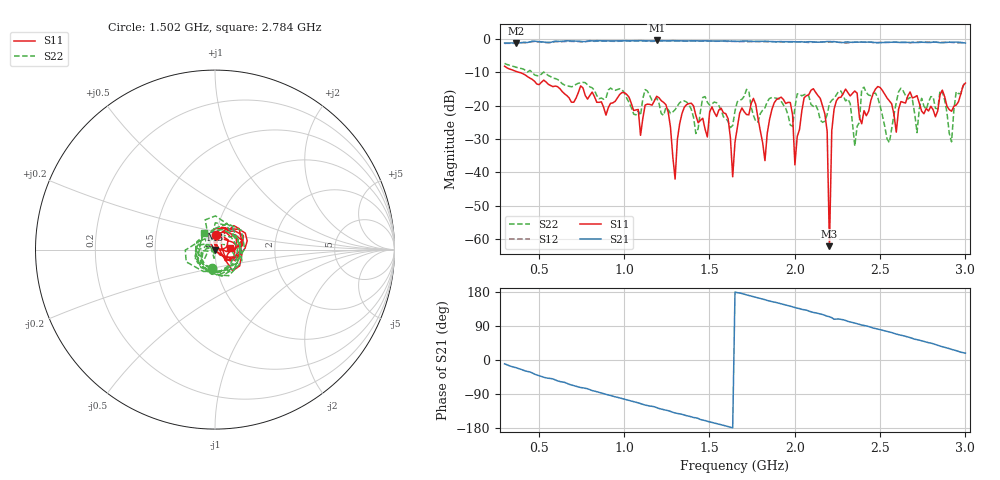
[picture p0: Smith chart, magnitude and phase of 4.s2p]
!CEYEAR,3656B,QZNG000070,1.3.8
!Calibration ON (Full Solt 2-Port(Omit Isolation))
!Measurements: S11 S21 S12 S22
!2025-12-27 10:44
# Hz  S  dB  R 50.000
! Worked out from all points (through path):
!   201 points, 300 MHz to 3 GHz, reference 50 ohm
!   highest |S21| = -0.54 dB at 1.191 GHz (marker M1); lowest = -1.3 dB at 367.5 MHz (marker M2)
!   group delay of S21, straight-line fit = 333 ps
!   lowest |S11| = -62.1 dB at 2.204 GHz (marker M3), VSWR 1.00, Z = 50 - j0.0685 ohm
!   |S11| at or under -10 dB: 378.8 MHz to end of sweep
!   |S22| runs from -32.1 to -7.4 dB; largest |S21 - S12| = 0.084
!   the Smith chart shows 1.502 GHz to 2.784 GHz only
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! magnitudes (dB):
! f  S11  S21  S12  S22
! 300 MHz  -8.2  -1.3  -1.4  -7.4
! 367.5 MHz  -9.8  -1.3  -1.4  -8.6
! 759 MHz  -14.7  -0.9  -1.0  -13.1
! 1.097 GHz  -28.9  -0.6  -0.7  -23.0
! 1.191 GHz  -17.2  -0.5  -0.6  -17.7
! 1.204 GHz  -17.7  -0.6  -0.7  -19.3
! 1.299 GHz  -42.0  -0.6  -0.7  -21.3
! 1.367 GHz  -19.7  -0.7  -0.8  -19.0
! 1.65 GHz  -31.0  -0.8  -0.8  -21.6
! 1.758 GHz  -17.9  -0.8  -0.9  -23.0
! 1.825 GHz  -36.5  -0.8  -0.9  -20.7
! 1.92 GHz  -17.5  -0.9  -1.0  -18.7
! 2.001 GHz  -37.7  -0.9  -1.0  -20.6
! 2.109 GHz  -15.0  -1.0  -1.1  -20.3
! 2.19 GHz  -27.7  -0.9  -1.1  -22.7
! 2.204 GHz  -62.1  -0.8  -1.0  -19.4
! 2.217 GHz  -27.6  -0.9  -1.0  -18.4
! 2.244 GHz  -18.6  -1.0  -1.0  -16.8
! 2.554 GHz  -18.6  -1.1  -1.1  -31.1
! 2.622 GHz  -18.8  -1.1  -1.1  -14.8
! 2.919 GHz  -21.7  -1.1  -1.1  -30.9
! 3 GHz  -13.3  -1.3  -1.2  -12.9
